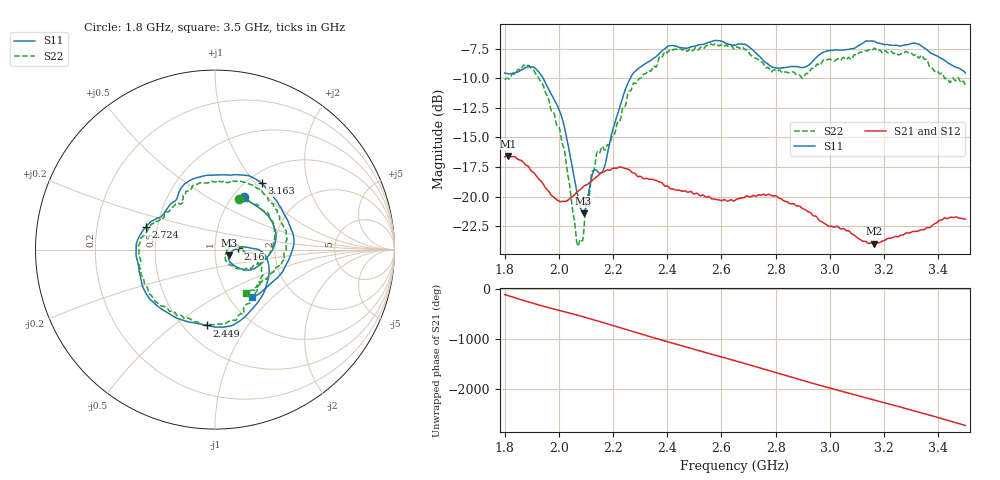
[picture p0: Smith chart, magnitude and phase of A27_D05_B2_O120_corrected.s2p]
! Created with skrf 1.9.0 (http://scikit-rf.org).
# Hz S RI R 50.0
!freq ReS11 ImS11 ReS21 ImS21 ReS12 ImS12 ReS22 ImS22
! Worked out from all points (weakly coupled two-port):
!   1601 points, 1.8 GHz to 3.5 GHz, reference 50 ohm
!   highest |S21| = -16.56 dB at 1.812 GHz (marker M1); lowest = -23.9 dB at 3.162 GHz (marker M2)
!   lowest |S11| = -21.4 dB at 2.091 GHz (marker M3), VSWR 1.19, Z = 58.5 - j3.6 ohm
!   |S11| at or under -10 dB: 1.942 GHz to 2.264 GHz (321.5 MHz wide, 15.3 % of centre)
!   |S22| runs from -24.2 to -7.1 dB; largest |S21 - S12| = 0.0026
!   S11 on the Smith chart (normalised r, x): 1.8 GHz: 1.13, +0.74; 2.16 GHz: 1.29, +0.02; 2.449 GHz: 0.64, -0.66; 2.724 GHz: 0.43, +0.13; 3.163 GHz: 1.16, +1.08; 3.5 GHz: 1.27, -0.75
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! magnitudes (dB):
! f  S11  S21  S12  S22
! 1.8 GHz  -9.6  -16.6  -16.6  -10.1
! 1.812 GHz  -9.6  -16.6  -16.6  -10.0
! 1.886 GHz  -9.0  -17.4  -17.5  -8.9
! 1.94 GHz  -9.9  -18.9  -18.9  -10.5
! 2.013 GHz  -13.4  -20.4  -20.4  -15.5
! 2.066 GHz  -19.5  -19.6  -19.6  -23.7
! 2.084 GHz  -21.2  -19.3  -19.3  -23.7
! 2.091 GHz  -21.4  -19.1  -19.2  -23.2
! 2.126 GHz  -18.0  -18.6  -18.6  -17.8
! 2.16 GHz  -17.9  -17.9  -17.9  -15.7
! 2.26 GHz  -10.2  -17.7  -17.7  -11.1
! 2.367 GHz  -8.0  -18.7  -18.7  -8.4
! 2.449 GHz  -7.4  -19.5  -19.5  -7.5
! 2.65 GHz  -7.2  -20.3  -20.3  -7.5
! 2.724 GHz  -7.8  -19.9  -19.9  -8.3
! 2.797 GHz  -9.1  -19.9  -19.9  -9.3
! 2.934 GHz  -8.6  -21.5  -21.5  -9.2
! 3.162 GHz  -6.9  -23.9  -23.9  -7.5
! 3.163 GHz  -6.9  -23.9  -23.9  -7.5
! 3.217 GHz  -7.2  -23.5  -23.5  -7.8
! 3.324 GHz  -7.1  -22.9  -22.9  -8.2
! 3.5 GHz  -9.5  -21.9  -21.9  -10.6
